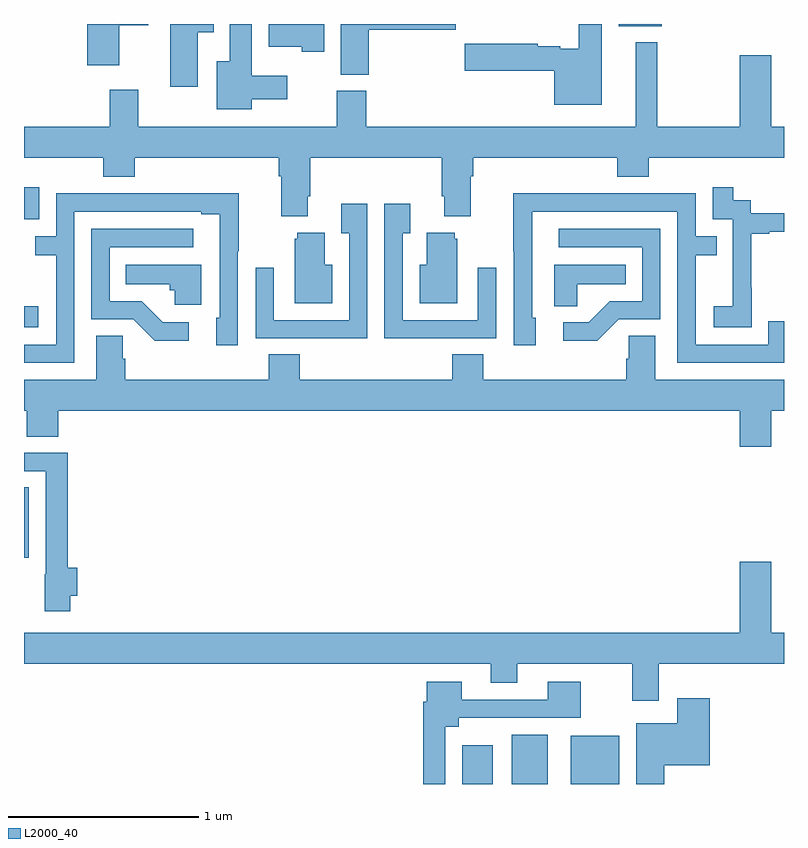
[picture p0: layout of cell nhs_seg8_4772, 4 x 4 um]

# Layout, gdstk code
import gdstk
lib = gdstk.Library(unit=1e-6, precision=1e-09)
def R(c, l, rs):  # rectangles x0, y0, x1, y1
    for r in rs: c.add(gdstk.rectangle(r[:2], r[2:], *l))
def P(c, l, *ps):  # polygons
    for p in ps: c.add(gdstk.Polygon(p, *l))
L2000_40 = (2000, 40)

nhs_seg8_4772 = lib.new_cell('nhs_seg8_4772')
R(nhs_seg8_4772, L2000_40, [(403.307,1083.9,403.468,1084.105), (403.568,1083.9,403.756,1084.159), (403.877,1083.9,404.134,1084.153), (401,1085.091,401.026,1085.462), (401,1086.305,401.074,1086.415), (401,1086.873,401.079,1087.042), (404.129,1087.889,404.356,1087.9)])
P(nhs_seg8_4772, L2000_40, [(401.5,1087.894),(401.653,1087.894),(401.653,1087.9),(401.333,1087.9),(401.333,1087.683),(401.5,1087.683)],
  [(404.041,1087.9),(403.92,1087.9),(403.92,1087.771),(403.823,1087.771),(403.823,1087.784),(403.704,1087.784),(403.704,1087.796),(403.32,1087.796),(403.32,1087.654),(403.79,1087.654),(403.79,1087.475),(404.041,1087.475)],
  [(401.914,1087.856),(401.998,1087.856),(401.998,1087.9),(401.771,1087.9),(401.771,1087.569),(401.914,1087.569)],
  [(402.815,1087.871),(403.273,1087.871),(403.273,1087.9),(402.668,1087.9),(402.668,1087.633),(402.815,1087.633)],
  [(402.58,1087.9),(402.287,1087.9),(402.287,1087.781),(402.462,1087.781),(402.462,1087.754),(402.58,1087.754)],
  [(402.199,1087.505),(402.385,1087.505),(402.385,1087.627),(402.199,1087.627),(402.199,1087.9),(402.083,1087.9),(402.083,1087.705),(402.014,1087.705),(402.014,1087.451),(402.199,1087.451)],
  [(402.8,1087.548),(402.647,1087.548),(402.647,1087.36),(401.602,1087.36),(401.602,1087.555),(401.45,1087.555),(401.45,1087.36),(401,1087.36),(401,1087.196),(401.417,1087.196),(401.417,1087.097),(401.582,1087.097),(401.582,1087.196),(402.341,1087.196),(402.341,1087.1),(402.353,1087.1),(402.353,1086.887),(402.493,1086.887),(402.493,1086.994),(402.506,1086.994),(402.506,1087.196),(403.199,1087.196),(403.199,1086.994),(403.211,1086.994),(403.211,1086.887),(403.351,1086.887),(403.351,1087.1),(403.364,1087.1),(403.364,1087.196),(404.123,1087.196),(404.123,1087.097),(404.288,1087.097),(404.288,1087.196),(405,1087.196),(405,1087.36),(404.932,1087.36),(404.932,1087.735),(404.768,1087.735),(404.768,1087.36),(404.333,1087.36),(404.333,1087.804),(404.219,1087.804),(404.219,1087.36),(402.8,1087.36)],
  [(404.829,1086.511),(404.828,1086.511),(404.828,1086.795),(404.923,1086.795),(404.923,1086.807),(405,1086.807),(405,1086.903),(404.826,1086.903),(404.826,1086.972),(404.734,1086.972),(404.734,1087.042),(404.625,1087.042),(404.625,1086.873),(404.73,1086.873),(404.73,1086.644),(404.729,1086.644),(404.729,1086.415),(404.631,1086.415),(404.631,1086.305),(404.829,1086.305)],
  [(405,1086.336),(404.916,1086.336),(404.916,1086.213),(404.535,1086.213),(404.535,1086.682),(404.645,1086.682),(404.645,1086.783),(404.535,1086.783),(404.535,1087.008),(404.039,1087.008),(404.039,1087.01),(403.576,1087.01),(403.576,1086.703),(403.578,1086.703),(403.578,1086.21),(403.693,1086.21),(403.693,1086.354),(403.674,1086.354),(403.674,1086.912),(404.439,1086.912),(404.439,1086.117),(405,1086.117)],
  [(401.265,1086.912),(401.933,1086.912),(401.933,1086.9),(402.03,1086.9),(402.03,1086.354),(402.011,1086.354),(402.011,1086.21),(402.126,1086.21),(402.126,1086.703),(402.129,1086.703),(402.129,1087.01),(401.665,1087.01),(401.665,1087.008),(401.169,1087.008),(401.169,1086.783),(401.059,1086.783),(401.059,1086.682),(401.169,1086.682),(401.169,1086.213),(401,1086.213),(401,1086.117),(401.265,1086.117)],
  [(403.169,1086.246),(403.485,1086.246),(403.485,1086.616),(403.389,1086.616),(403.389,1086.342),(402.993,1086.342),(402.993,1086.799),(403.033,1086.799),(403.033,1086.955),(402.897,1086.955),(402.897,1086.245),(403.169,1086.245)],
  [(402.807,1086.955),(402.671,1086.955),(402.671,1086.799),(402.711,1086.799),(402.711,1086.342),(402.315,1086.342),(402.315,1086.616),(402.219,1086.616),(402.219,1086.246),(402.535,1086.246),(402.535,1086.245),(402.807,1086.245)],
  [(401.866,1086.33),(401.731,1086.33),(401.62,1086.441),(401.451,1086.441),(401.451,1086.726),(401.89,1086.726),(401.89,1086.822),(401.355,1086.822),(401.355,1086.345),(401.574,1086.345),(401.687,1086.233),(401.866,1086.233)],
  [(404.13,1086.345),(404.349,1086.345),(404.349,1086.822),(403.815,1086.822),(403.815,1086.726),(404.253,1086.726),(404.253,1086.441),(404.084,1086.441),(403.973,1086.33),(403.839,1086.33),(403.839,1086.233),(404.017,1086.233)],
  [(403.279,1086.771),(403.268,1086.771),(403.268,1086.802),(403.121,1086.802),(403.121,1086.634),(403.082,1086.634),(403.082,1086.431),(403.279,1086.431)],
  [(402.622,1086.634),(402.583,1086.634),(402.583,1086.802),(402.437,1086.802),(402.437,1086.771),(402.425,1086.771),(402.425,1086.431),(402.622,1086.431)],
  [(403.911,1086.53),(404.168,1086.53),(404.168,1086.634),(403.79,1086.634),(403.79,1086.415),(403.911,1086.415)],
  [(401.932,1086.634),(401.536,1086.634),(401.536,1086.53),(401.767,1086.53),(401.767,1086.498),(401.793,1086.498),(401.793,1086.422),(401.932,1086.422)],
  [(404.932,1085.864),(405,1085.864),(405,1086.028),(404.323,1086.028),(404.323,1086.26),(404.184,1086.26),(404.184,1086.137),(404.171,1086.137),(404.171,1086.028),(403.418,1086.028),(403.418,1086.161),(403.253,1086.161),(403.253,1086.028),(402.452,1086.028),(402.452,1086.161),(402.287,1086.161),(402.287,1086.028),(401.534,1086.028),(401.534,1086.137),(401.52,1086.137),(401.52,1086.26),(401.381,1086.26),(401.381,1086.028),(401,1086.028),(401,1085.864),(401.015,1085.864),(401.015,1085.728),(401.18,1085.728),(401.18,1085.864),(404.768,1085.864),(404.768,1085.676),(404.932,1085.676)],
  [(401.244,1084.89),(401.279,1084.89),(401.279,1085.039),(401.231,1085.039),(401.231,1085.643),(401,1085.643),(401,1085.547),(401.115,1085.547),(401.115,1085.004),(401.108,1085.004),(401.108,1084.808),(401.244,1084.808)],
  [(404.341,1084.532),(405,1084.532),(405,1084.696),(404.932,1084.696),(404.932,1085.071),(404.768,1085.071),(404.768,1084.696),(401,1084.696),(401,1084.532),(403.457,1084.532),(403.457,1084.433),(403.597,1084.433),(403.597,1084.532),(404.201,1084.532),(404.201,1084.338),(404.341,1084.338)],
  [(403.218,1084.202),(403.288,1084.202),(403.288,1084.248),(403.93,1084.248),(403.93,1084.438),(403.757,1084.438),(403.757,1084.344),(403.303,1084.344),(403.303,1084.438),(403.121,1084.438),(403.121,1084.334),(403.102,1084.334),(403.102,1083.9),(403.218,1083.9)],
  [(404.369,1083.998),(404.609,1083.998),(404.609,1084.351),(404.438,1084.351),(404.438,1084.219),(404.222,1084.219),(404.222,1083.9),(404.369,1083.9)])

lib.write_gds('nhs_seg8_4772.gds')
